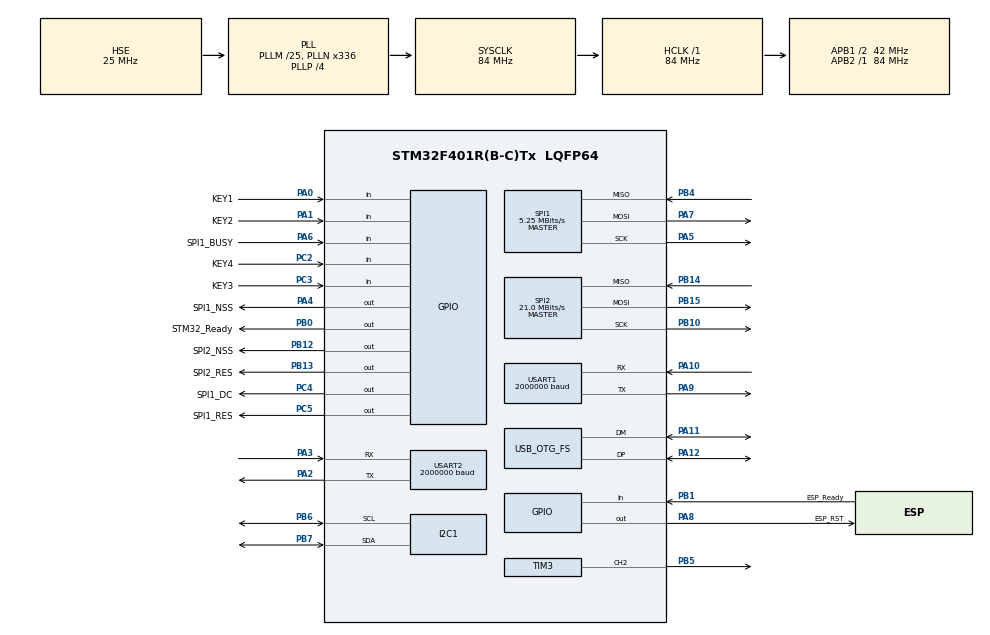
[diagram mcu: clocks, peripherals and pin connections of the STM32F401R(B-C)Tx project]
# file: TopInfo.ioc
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Dma.Request0=TIM3_CH2
Dma.Request1=USART1_RX
Dma.TIM3_CH2.0.Direction=DMA_MEMORY_TO_PERIPH
Dma.TIM3_CH2.0.FIFOMode=DMA_FIFOMODE_DISABLE
Dma.TIM3_CH2.0.Instance=DMA1_Stream5
Dma.TIM3_CH2.0.MemDataAlignment=DMA_MDATAALIGN_HALFWORD
Dma.TIM3_CH2.0.MemInc=DMA_MINC_ENABLE
Dma.TIM3_CH2.0.Mode=DMA_CIRCULAR
Dma.TIM3_CH2.0.PeriphDataAlignment=DMA_PDATAALIGN_HALFWORD
Dma.TIM3_CH2.0.PeriphInc=DMA_PINC_DISABLE
Dma.TIM3_CH2.0.Priority=DMA_PRIORITY_LOW
Dma.USART1_RX.1.Direction=DMA_PERIPH_TO_MEMORY
Dma.USART1_RX.1.FIFOMode=DMA_FIFOMODE_DISABLE
Dma.USART1_RX.1.Instance=DMA2_Stream2
Dma.USART1_RX.1.MemDataAlignment=DMA_MDATAALIGN_BYTE
Dma.USART1_RX.1.MemInc=DMA_MINC_ENABLE
Dma.USART1_RX.1.Mode=DMA_CIRCULAR
Dma.USART1_RX.1.PeriphDataAlignment=DMA_PDATAALIGN_BYTE
Dma.USART1_RX.1.PeriphInc=DMA_PINC_DISABLE
Dma.USART1_RX.1.Priority=DMA_PRIORITY_VERY_HIGH
Mcu.Family=STM32F4
Mcu.Name=STM32F401R(B-C)Tx
Mcu.Package=LQFP64
NVIC.DMA1_Stream5_IRQn=true\:0\:0\:false\:false\:true\:false\:true\:true
NVIC.DMA2_Stream2_IRQn=true\:0\:0\:false\:false\:true\:false\:true\:true
NVIC.OTG_FS_IRQn=true\:0\:0\:false\:false\:true\:false\:true\:true
NVIC.PriorityGroup=NVIC_PRIORITYGROUP_4
NVIC.TIM1_UP_TIM10_IRQn=true\:0\:0\:false\:false\:true\:true\:true\:true
NVIC.USART1_IRQn=true\:0\:0\:false\:false\:true\:true\:true\:true
NVIC.USART2_IRQn=true\:0\:0\:false\:false\:true\:true\:true\:true
PA0-WKUP.GPIO_Label=KEY1
PA0-WKUP.Signal=GPIO_Input
PA1.GPIO_Label=KEY2
PA1.Signal=GPIO_Input
PA10.Mode=Asynchronous
PA10.Signal=USART1_RX
PA11.Mode=Device_Only
PA11.Signal=USB_OTG_FS_DM
PA12.Mode=Device_Only
PA12.Signal=USB_OTG_FS_DP
PA13.Mode=Serial_Wire
PA13.Signal=SYS_JTMS-SWDIO
PA14.Mode=Serial_Wire
PA14.Signal=SYS_JTCK-SWCLK
PA2.Mode=Asynchronous
PA2.Signal=USART2_TX
PA3.Mode=Asynchronous
PA3.Signal=USART2_RX
PA4.GPIO_Label=SPI1_NSS
PA4.GPIO_Speed=GPIO_SPEED_FREQ_HIGH
PA4.Signal=GPIO_Output
PA5.Mode=Full_Duplex_Master
PA5.Signal=SPI1_SCK
PA6.GPIO_Label=SPI1_BUSY
PA6.Signal=GPIO_Input
PA7.Mode=Full_Duplex_Master
PA7.Signal=SPI1_MOSI
PA8.GPIO_Label=ESP_RST
PA8.Signal=GPIO_Output
PA9.Mode=Asynchronous
PA9.Signal=USART1_TX
PB0.GPIO_Label=STM32_Ready
PB0.Signal=GPIO_Output
PB1.GPIO_Label=ESP_Ready
PB1.Signal=GPIO_Input
PB10.Mode=Full_Duplex_Master
PB10.Signal=SPI2_SCK
PB12.GPIO_Label=SPI2_NSS
PB12.GPIO_PuPd=GPIO_PULLDOWN
PB12.GPIO_Speed=GPIO_SPEED_FREQ_HIGH
PB12.PinState=GPIO_PIN_RESET
PB12.Signal=GPIO_Output
PB13.GPIO_Label=SPI2_RES
PB13.GPIO_PuPd=GPIO_PULLDOWN
PB13.GPIO_Speed=GPIO_SPEED_FREQ_HIGH
PB13.Signal=GPIO_Output
PB14.Mode=Full_Duplex_Master
PB14.Signal=SPI2_MISO
PB15.Mode=Full_Duplex_Master
PB15.Signal=SPI2_MOSI
PB4.Mode=Full_Duplex_Master
PB4.Signal=SPI1_MISO
PB5.Signal=S_TIM3_CH2
PB6.Mode=I2C
PB6.Signal=I2C1_SCL
PB7.Mode=I2C
PB7.Signal=I2C1_SDA
PC2.GPIO_Label=KEY4
PC2.Signal=GPIO_Input
PC3.GPIO_Label=KEY3
PC3.Signal=GPIO_Input
PC4.GPIO_Label=SPI1_DC
PC4.GPIO_Speed=GPIO_SPEED_FREQ_HIGH
PC4.Signal=GPIO_Output
PC5.GPIO_Label=SPI1_RES
PC5.GPIO_Speed=GPIO_SPEED_FREQ_HIGH
PC5.Signal=GPIO_Output
PH0\ -\ OSC_IN.Mode=HSE-External-Oscillator
PH0\ -\ OSC_IN.Signal=RCC_OSC_IN
PH1\ -\ OSC_OUT.Mode=HSE-External-Oscillator
PH1\ -\ OSC_OUT.Signal=RCC_OSC_OUT
ProjectManager.HeapSize=0x200
ProjectManager.StackSize=0x400
ProjectManager.TargetToolchain=STM32CubeIDE
RCC.48MHZClocksFreq_Value=48000000
RCC.AHBFreq_Value=84000000
RCC.APB1CLKDivider=RCC_HCLK_DIV2
RCC.APB1Freq_Value=42000000
RCC.APB1TimFreq_Value=84000000
RCC.APB2Freq_Value=84000000
RCC.APB2TimFreq_Value=84000000
RCC.CortexFreq_Value=84000000
RCC.HCLKFreq_Value=84000000
RCC.HSE_VALUE=25000000
RCC.HSI_VALUE=16000000
RCC.LSE_VALUE=32768
RCC.PLLM=25
RCC.PLLN=336
RCC.PLLP=RCC_PLLP_DIV4
RCC.PLLQ=7
RCC.SYSCLKFreq_VALUE=84000000
RCC.SYSCLKSource=RCC_SYSCLKSOURCE_PLLCLK
RCC.VCOOutputFreq_Value=336000000
SH.S_TIM3_CH2.0=TIM3_CH2,PWM Generation2 CH2
SPI1.BaudRatePrescaler=SPI_BAUDRATEPRESCALER_16
SPI1.CLKPolarity=SPI_POLARITY_LOW
SPI1.CalculateBaudRate=5.25 MBits/s
SPI1.Direction=SPI_DIRECTION_2LINES
SPI1.Mode=SPI_MODE_MASTER
SPI1.VirtualType=VM_MASTER
SPI2.BaudRatePrescaler=SPI_BAUDRATEPRESCALER_2
SPI2.CalculateBaudRate=21.0 MBits/s
SPI2.Direction=SPI_DIRECTION_2LINES
SPI2.Mode=SPI_MODE_MASTER
SPI2.VirtualType=VM_MASTER
TIM10.AutoReloadPreload=TIM_AUTORELOAD_PRELOAD_ENABLE
TIM10.Period=1000-1
TIM10.Prescaler=84-1
TIM3.Channel-PWM\ Generation2\ CH2=TIM_CHANNEL_2
USART1.BaudRate=2000000
USART1.VirtualMode=VM_ASYNC
USART2.BaudRate=2000000
USART2.VirtualMode=VM_ASYNC
USB_DEVICE.CLASS_NAME_FS=CDC
USB_DEVICE.VirtualMode=Cdc
USB_DEVICE.VirtualModeFS=Cdc_FS
USB_OTG_FS.VirtualMode=Device_Only
VP_TIM10_VS_ClockSourceINT.Mode=Enable_Timer
VP_USB_DEVICE_VS_USB_DEVICE_CDC_FS.Mode=CDC_FS
board=custom

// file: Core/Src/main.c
/* USER CODE BEGIN Header */
/**
  ******************************************************************************
  * @file           : main.c
  * @brief          : Main program body
  ******************************************************************************
  * @attention
  *
  * Copyright (c) 2026 STMicroelectronics.
  * All rights reserved.
  *
  * This software is licensed under terms that can be found in the LICENSE file
  * in the root directory of this software component.
  * If no LICENSE file comes with this software, it is provided AS-IS.
  *
  ******************************************************************************
  */
/* USER CODE END Header */
#include "main.h"
#include "dma.h"
#include "i2c.h"
#include "spi.h"
#include "tim.h"
#include "usart.h"
#include "usb_device.h"
#include "gpio.h"

/* USER CODE BEGIN Includes */
#include "Epd_Api.h"
#include "Uart_OTA.h"
#include "Uart_RTX.h"
#include "Esp_Com.h"
#include "ApiRefresh.h"
#include "SystemHeartbeat.h"
#include "LocalClock.h"
#include "shell.h"
#include "usbd_cdc_if.h"
/* USER CODE END Includes */

void SystemClock_Config(void);

/* USER CODE BEGIN 0 */
volatile Fifo_Type Fifo_Uart_Rx;
extern Shell shell;

uint8_t flash_rw = 0;

/* USER CODE END 0 */

int main(void)
{

  /* USER CODE BEGIN 1 */
  __HAL_RCC_HSI_ENABLE();
  __HAL_RCC_SYSCLK_CONFIG(RCC_SYSCLKSOURCE_HSI);
  /* USER CODE END 1 */

  /* MCU Configuration--------------------------------------------------------*/

  /* Reset of all peripherals, Initializes the Flash interface and the Systick. */
  HAL_Init();

  /* Configure the system clock */
  SystemClock_Config();

  /* Initialize all configured peripherals */
  MX_GPIO_Init();
  MX_DMA_Init();
  MX_I2C1_Init();
  MX_SPI1_Init();
  MX_USART1_UART_Init();
  MX_USART2_UART_Init();
  MX_TIM3_Init();
  MX_SPI2_Init();
  MX_USB_DEVICE_Init();
  MX_TIM10_Init();
  /* USER CODE BEGIN 2 */
  HAL_GPIO_WritePin(ESP_RST_GPIO_Port,ESP_RST_Pin,GPIO_PIN_SET);
  EspCom_Init();

  if(flash_rw) {
    EPD_Flash_Init();
    EPD_Flash_Test();
    Uart_Init_DMA();
  }else {
    EPD_HW_Init();
    EPD_HW_Clear();
    shell_Init();
    SystemHeartbeat_Init();
    ApiRefresh_Init();
    LocalClock_Init();
    __HAL_TIM_SET_COUNTER(&htim10, 0);
    __HAL_TIM_CLEAR_FLAG(&htim10, TIM_FLAG_UPDATE);
    if (HAL_TIM_Base_Start_IT(&htim10) != HAL_OK) {
      Error_Handler();
    }
    LocalClock_Start();
  }

  /* USER CODE END 2 */

  /* Infinite loop */
  /* USER CODE BEGIN WHILE */
  static uint32_t last_tick = 0;
  while (1)
  {
    if (flash_rw) {
      UART_DMA_Poll();
      Uart_OTA_Rx();
    }else {
      EspCom_Poll();
      ApiRefresh_Poll();
      EPD_UI_Poll();
      shellTask(&shell);

    }

    /* USER CODE END WHILE */

  }
}

void SystemClock_Config(void)
{
  RCC_OscInitTypeDef RCC_OscInitStruct = {0};
  RCC_ClkInitTypeDef RCC_ClkInitStruct = {0};

  /** Configure the main internal regulator output voltage
  */
  __HAL_RCC_PWR_CLK_ENABLE();
  __HAL_PWR_VOLTAGESCALING_CONFIG(PWR_REGULATOR_VOLTAGE_SCALE2);

  /** Initializes the RCC Oscillators according to the specified parameters
  * in the RCC_OscInitTypeDef structure.
  */
  RCC_OscInitStruct.OscillatorType = RCC_OSCILLATORTYPE_HSE;
  RCC_OscInitStruct.HSEState = RCC_HSE_ON;
  RCC_OscInitStruct.PLL.PLLState = RCC_PLL_ON;
  RCC_OscInitStruct.PLL.PLLSource = RCC_PLLSOURCE_HSE;
  RCC_OscInitStruct.PLL.PLLM = 25;
  RCC_OscInitStruct.PLL.PLLN = 336;
  RCC_OscInitStruct.PLL.PLLP = RCC_PLLP_DIV4;
  RCC_OscInitStruct.PLL.PLLQ = 7;
  if (HAL_RCC_OscConfig(&RCC_OscInitStruct) != HAL_OK)
  {
    Error_Handler();
  }

  /** Initializes the CPU, AHB and APB buses clocks
  */
  RCC_ClkInitStruct.ClockType = RCC_CLOCKTYPE_HCLK|RCC_CLOCKTYPE_SYSCLK
                              |RCC_CLOCKTYPE_PCLK1|RCC_CLOCKTYPE_PCLK2;
  RCC_ClkInitStruct.SYSCLKSource = RCC_SYSCLKSOURCE_PLLCLK;
  RCC_ClkInitStruct.AHBCLKDivider = RCC_SYSCLK_DIV1;
  RCC_ClkInitStruct.APB1CLKDivider = RCC_HCLK_DIV2;
  RCC_ClkInitStruct.APB2CLKDivider = RCC_HCLK_DIV1;

  if (HAL_RCC_ClockConfig(&RCC_ClkInitStruct, FLASH_LATENCY_2) != HAL_OK)
  {
    Error_Handler();
  }
}

void Error_Handler(void)
{
  __disable_irq();
  while (1)
  {
  }
}
